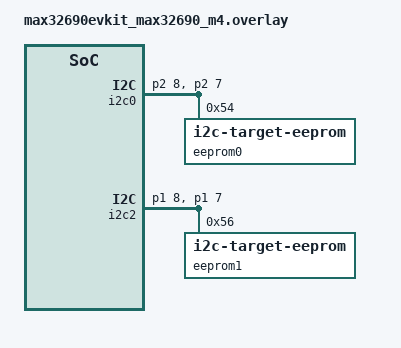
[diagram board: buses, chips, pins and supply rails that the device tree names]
/*
 * Copyright (c) 2024 Analog Devices, Inc.
 *
 * SPDX-License-Identifier: Apache-2.0
 */

&i2c0 {
	status = "okay";
	pinctrl-0 = <&i2c0a_scl_p2_8 &i2c0a_sda_p2_7>;
	pinctrl-names = "default";

	eeprom0: eeprom@54 {
		compatible = "zephyr,i2c-target-eeprom";
		reg = <0x54>;
		address-width = <16>;
		size = <1024>;
	};
};

&i2c2 {
	status = "okay";
	pinctrl-0 = <&i2c2c_scl_p1_8 &i2c2c_sda_p1_7>;
	pinctrl-names = "default";

	eeprom1: eeprom@56 {
		compatible = "zephyr,i2c-target-eeprom";
		reg = <0x56>;
		address-width = <16>;
		size = <1024>;
	};
};
